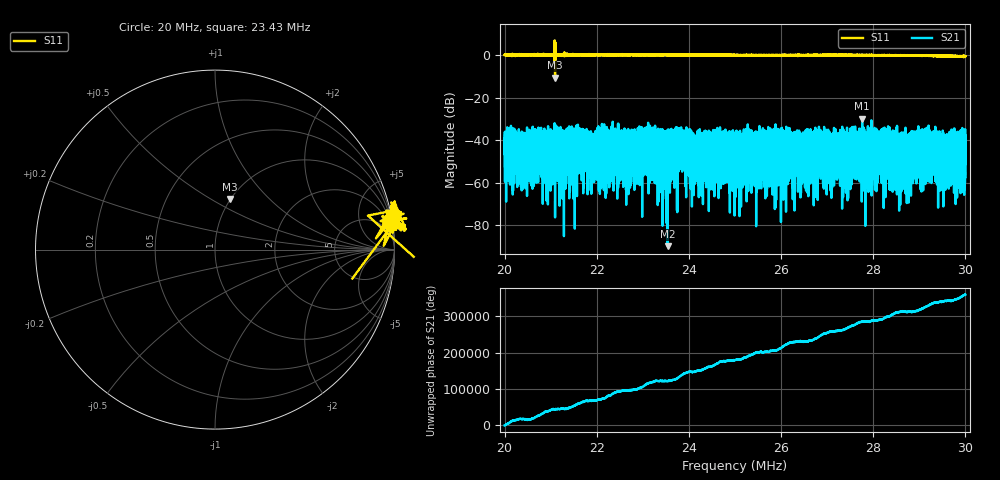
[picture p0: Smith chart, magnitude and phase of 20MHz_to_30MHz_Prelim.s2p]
# HZ S RI R 50
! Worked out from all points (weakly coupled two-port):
!   20200 points, 20 MHz to 30 MHz, reference 50 ohm
!   highest |S21| = -29.98 dB at 27.76 MHz (marker M1); lowest = -89.8 dB at 23.54 MHz (marker M2)
!   lowest |S11| = -10.6 dB at 21.1 MHz (marker M3), VSWR 1.83, Z = 49.4 + j30.5 ohm
!   |S11| at or under -10 dB: 21.0959 MHz to 21.09595 MHz (56.32 Hz wide, 0.000267 % of centre)
!   S12 and S22 are empty: the file has one direction only
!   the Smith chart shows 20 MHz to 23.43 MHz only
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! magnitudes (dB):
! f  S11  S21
! 20 MHz  -0.1  -46.1
! 21.1 MHz  -10.6  -45.2
! 21.67 MHz  0.0  -39.5
! 22.72 MHz  0.2  -39.8
! 23.06 MHz  0.1  -45.7
! 23.33 MHz  0.0  -43.7
! 23.54 MHz  0.0  -89.8
! 23.8 MHz  0.2  -44.5
! 24.09 MHz  0.0  -47.7
! 24.59 MHz  -0.1  -47.1
! 25 MHz  -0.1  -40.9
! 26.67 MHz  -0.2  -50.4
! 27.1 MHz  -0.1  -48.2
! 27.58 MHz  0.0  -37.7
! 27.76 MHz  -0.2  -30.0
! 28.33 MHz  -0.2  -51.5
! 28.78 MHz  -0.3  -41.3
! 29.18 MHz  -0.3  -45.2
! 29.5 MHz  -0.6  -44.2
! 29.88 MHz  -0.8  -40.7
! 29.95 MHz  -0.8  -45.6
! 30 MHz  -0.6  -57.3
